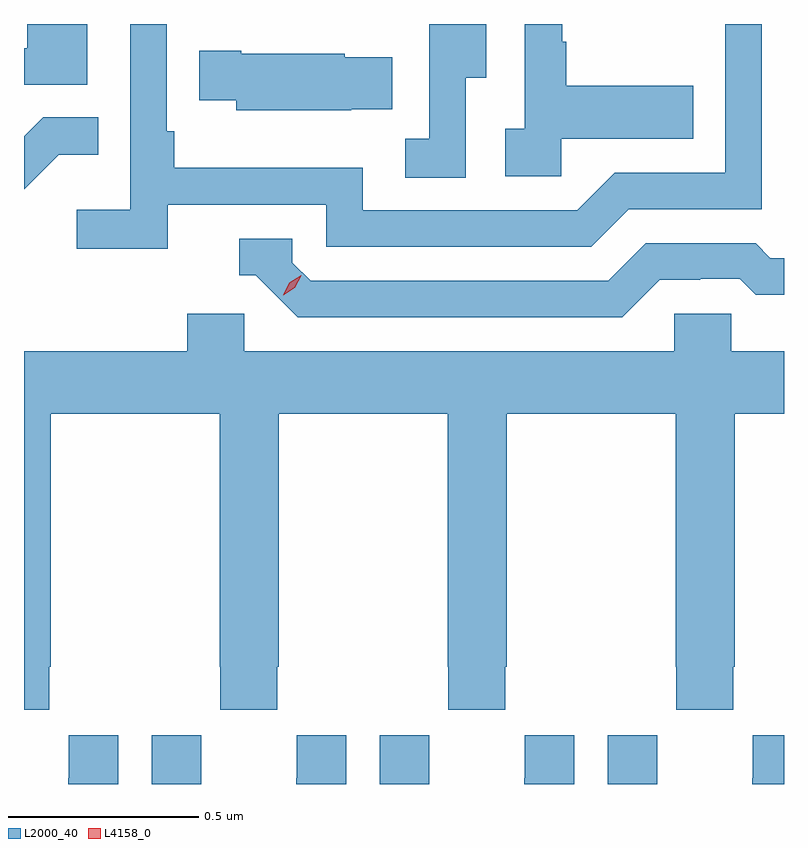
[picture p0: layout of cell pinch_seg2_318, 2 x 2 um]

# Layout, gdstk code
import gdstk
lib = gdstk.Library(unit=1e-6, precision=1e-09)
def P(c, l, *ps):  # polygons
    for p in ps: c.add(gdstk.Polygon(p, *l))
L2000_40 = (2000, 40)
L4158_0 = (4158, 0)

pinch_seg2_318 = lib.new_cell('pinch_seg2_318')
P(pinch_seg2_318, L2000_40, [(890.539,645.997),(890.381,645.997),(890.381,645.933),(890.372,645.933),(890.372,645.837),(890.539,645.837)],
  [(890.75,645.522),(891.168,645.522),(891.168,645.411),(891.865,645.411),(891.964,645.51),(892.314,645.51),(892.314,645.997),(892.218,645.997),(892.218,645.606),(891.927,645.606),(891.828,645.507),(891.264,645.507),(891.264,645.619),(890.768,645.619),(890.768,645.715),(890.748,645.715),(890.748,645.997),(890.652,645.997),(890.652,645.508),(890.511,645.508),(890.511,645.406),(890.75,645.406)],
  [(891.534,645.856),(891.589,645.856),(891.589,645.997),(891.438,645.997),(891.438,645.695),(891.375,645.695),(891.375,645.592),(891.534,645.592)],
  [(891.786,645.695),(892.133,645.695),(892.133,645.835),(891.799,645.835),(891.799,645.95),(891.789,645.95),(891.789,645.997),(891.69,645.997),(891.69,645.722),(891.639,645.722),(891.639,645.597),(891.786,645.597)],
  [(891.233,645.773),(891.341,645.773),(891.341,645.91),(891.216,645.91),(891.216,645.919),(890.944,645.919),(890.944,645.927),(890.833,645.927),(890.833,645.797),(890.931,645.797),(890.931,645.77),(891.233,645.77)],
  [(890.463,645.653),(890.567,645.653),(890.567,645.752),(890.423,645.752),(890.372,645.701),(890.372,645.562)],
  [(892.045,645.324),(892.152,645.324),(892.152,645.327),(892.255,645.327),(892.297,645.285),(892.372,645.285),(892.372,645.381),(892.336,645.381),(892.297,645.42),(892.008,645.42),(891.909,645.321),(891.126,645.321),(891.078,645.369),(891.078,645.432),(890.939,645.432),(890.939,645.336),(890.982,645.336),(891.093,645.225),(891.946,645.225)],
  [(890.439,644.305),(890.442,644.305),(890.442,644.972),(890.887,644.972),(890.887,644.305),(890.889,644.305),(890.889,644.193),(891.039,644.193),(891.039,644.305),(891.042,644.305),(891.042,644.972),(891.487,644.972),(891.487,644.305),(891.489,644.305),(891.489,644.193),(891.639,644.193),(891.639,644.305),(891.642,644.305),(891.642,644.972),(892.087,644.972),(892.087,644.305),(892.089,644.305),(892.089,644.193),(892.239,644.193),(892.239,644.305),(892.242,644.305),(892.242,644.972),(892.372,644.972),(892.372,645.136),(892.233,645.136),(892.233,645.234),(892.083,645.234),(892.083,645.136),(890.952,645.136),(890.952,645.234),(890.801,645.234),(890.801,645.136),(890.372,645.136),(890.372,644.193),(890.439,644.193)],
  [(890.62,644.125),(890.49,644.125),(890.49,644.012),(890.489,644.012),(890.489,643.997),(890.62,643.997)],
  [(890.839,644.012),(890.838,644.012),(890.838,644.125),(890.708,644.125),(890.708,643.997),(890.839,643.997)],
  [(891.22,644.125),(891.09,644.125),(891.09,644.012),(891.089,644.012),(891.089,643.997),(891.22,643.997)],
  [(891.439,644.012),(891.438,644.012),(891.438,644.125),(891.308,644.125),(891.308,643.997),(891.439,643.997)],
  [(891.82,644.125),(891.69,644.125),(891.69,644.012),(891.689,644.012),(891.689,643.997),(891.82,643.997)],
  [(892.039,644.012),(892.038,644.012),(892.038,644.125),(891.908,644.125),(891.908,643.997),(892.039,643.997)],
  [(892.372,644.125),(892.29,644.125),(892.29,644.012),(892.289,644.012),(892.289,643.997),(892.372,643.997)])
P(pinch_seg2_318, L4158_0, [(891.054,645.283),(891.054,645.284),(891.07,645.316),(891.101,645.336),(891.101,645.336),(891.101,645.335),(891.085,645.303),(891.054,645.283)])

lib.write_gds('pinch_seg2_318.gds')
